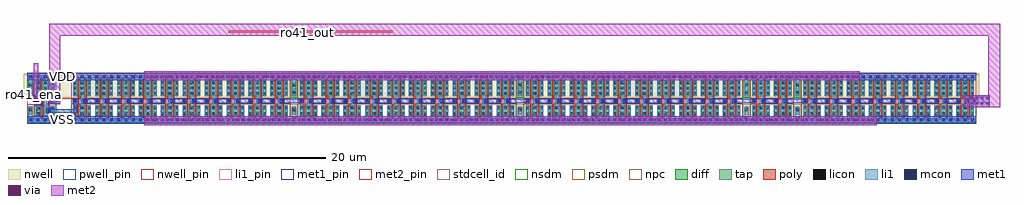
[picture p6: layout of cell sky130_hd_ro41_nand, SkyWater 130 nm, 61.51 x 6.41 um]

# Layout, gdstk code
import gdstk
lib = gdstk.Library(unit=1e-6, precision=1e-09)
def R(c, l, rs):  # rectangles x0, y0, x1, y1
    for r in rs: c.add(gdstk.rectangle(r[:2], r[2:], *l))
def A(c, l, x, y, w, h, nx, ny, dx, dy):  # array of equal rectangles
    R(c, l, [(x+i*dx, y+j*dy, x+i*dx+w, y+j*dy+h) for i in range(nx) for j in range(ny)])
def P(c, l, *ps):  # polygons
    for p in ps: c.add(gdstk.Polygon(p, *l))
nwell_pin = (64, 16)
nwell = (64, 20)
diff = (65, 20)
tap = (65, 44)
poly = (66, 20)
licon = (66, 44)
li1_pin = (67, 16)
li1 = (67, 20)
mcon = (67, 44)
met1_pin = (68, 16)
met1 = (68, 20)
via = (68, 44)
met2_pin = (69, 16)
met2 = (69, 20)
stdcell_id = (81, 4)
nsdm = (93, 44)
psdm = (94, 20)
npc = (95, 20)
pwell_pin = (122, 16)

sky130_hd_tapvpwrvgnd_1 = lib.new_cell('sky130_hd_tapvpwrvgnd_1')
R(sky130_hd_tapvpwrvgnd_1, nwell, [(-0.19,1.305,0.65,2.91)])
R(sky130_hd_tapvpwrvgnd_1, tap, [(0.145,0.32,0.315,0.845), (0.145,1.525,0.315,2.4)])
R(sky130_hd_tapvpwrvgnd_1, licon, [(0.145,0.555,0.315,0.725), (0.145,1.645,0.315,1.815), (0.145,2.11,0.315,2.28)])
R(sky130_hd_tapvpwrvgnd_1, li1, [(0,-0.085,0.46,0.085), (0.085,0,0.375,0.81), (0.085,1.49,0.375,2.72), (0,2.635,0.46,2.805)])
R(sky130_hd_tapvpwrvgnd_1, mcon, [(0.145,-0.085,0.315,0.085), (0.145,2.635,0.315,2.805)])
R(sky130_hd_tapvpwrvgnd_1, met1_pin, [(0.105,-0.09,0.36,0.1), (0.11,2.62,0.375,2.765)])
R(sky130_hd_tapvpwrvgnd_1, met1, [(0,-0.24,0.46,0.24), (0,2.48,0.46,2.96)])
R(sky130_hd_tapvpwrvgnd_1, stdcell_id, [(0,0,0.46,2.72)])
R(sky130_hd_tapvpwrvgnd_1, nsdm, [(0,-0.19,0.46,0.19), (0,1.395,0.46,2.53)])
R(sky130_hd_tapvpwrvgnd_1, psdm, [(0,0.19,0.46,0.975), (0,2.53,0.46,2.91)])
sky130_hd_tapvpwrvgnd_1.add(gdstk.Label('VPWR', (0.23,2.72), layer=68, texttype=5))
sky130_hd_tapvpwrvgnd_1.add(gdstk.Label('VGND', (0.23,0), layer=68, texttype=5))

sky130_hd_nand2_1 = lib.new_cell('sky130_hd_nand2_1')
R(sky130_hd_nand2_1, nwell_pin, [(0.14,2.635,0.31,2.805)])
R(sky130_hd_nand2_1, nwell, [(-0.19,1.305,1.57,2.91)])
R(sky130_hd_nand2_1, diff, [(0.155,0.235,1.245,0.885), (0.155,1.485,1.245,2.485)])
P(sky130_hd_nand2_1, poly, [(0.415,0.105),(0.415,0.995),(0.105,0.995),(0.105,1.325),(0.415,1.325),(0.415,2.615),(0.565,2.615),(0.565,0.105)],
  [(0.835,0.105),(0.835,2.615),(0.985,2.615),(0.985,1.325),(1.275,1.325),(1.275,0.995),(0.985,0.995),(0.985,0.105)])
A(sky130_hd_nand2_1, licon, 0.195, 1.575, 0.17, 0.17, 3, 3, 0.42, 0.34)
R(sky130_hd_nand2_1, licon, [(0.195,0.295,0.365,0.465), (1.035,0.295,1.205,0.465), (0.195,0.635,0.365,0.805), (1.035,0.635,1.205,0.805), (0.18,1.075,0.35,1.245), (1.02,1.075,1.19,1.245)])
A(sky130_hd_nand2_1, li1_pin, 0.14, 1.105, 0.17, 0.17, 3, 1, 0.46, 0)
R(sky130_hd_nand2_1, li1_pin, [(0.6,0.425,0.77,0.595), (0.6,0.765,0.77,0.935)])
R(sky130_hd_nand2_1, li1, [(0.095,1.055,0.43,1.325), (0.94,1.075,1.275,1.325)])
P(sky130_hd_nand2_1, li1, [(0.6,0.255),(0.6,1.485),(0.535,1.485),(0.535,2.465),(0.865,2.465),(0.865,1.485),(0.77,1.485),(0.77,0.885),(1.295,0.885),(1.295,0.255)],
  [(0.085,1.495),(0.085,2.635),(0,2.635),(0,2.805),(1.38,2.805),(1.38,2.635),(1.295,2.635),(1.295,1.495),(1.035,1.495),(1.035,2.635),(0.365,2.635),(0.365,1.495)],
  [(0,-0.085),(0,0.085),(0.085,0.085),(0.085,0.885),(0.395,0.885),(0.395,0.085),(1.38,0.085),(1.38,-0.085)])
A(sky130_hd_nand2_1, mcon, 0.145, -0.085, 0.17, 0.17, 3, 2, 0.46, 2.72)
R(sky130_hd_nand2_1, met1_pin, [(0.14,-0.085,0.31,0.085), (0.14,2.635,0.31,2.805)])
R(sky130_hd_nand2_1, stdcell_id, [(0,0,1.38,2.72)])
R(sky130_hd_nand2_1, nsdm, [(0,-0.19,1.38,1.015)])
R(sky130_hd_nand2_1, psdm, [(0,1.355,1.38,2.91)])
R(sky130_hd_nand2_1, npc, [(0,0.975,1.38,1.345)])
R(sky130_hd_nand2_1, pwell_pin, [(0.14,-0.085,0.31,0.085)])
sky130_hd_nand2_1.add(gdstk.FlexPath([(0,0),(1.38,0)], 0.48, ends="flush", simple_path=True, layer=68, datatype=20))  # met1
sky130_hd_nand2_1.add(gdstk.FlexPath([(0,2.72),(1.38,2.72)], 0.48, ends="flush", simple_path=True, layer=68, datatype=20))  # met1
sky130_hd_nand2_1.add(gdstk.Label('VPWR', (0.225,2.72), layer=68, texttype=5))
sky130_hd_nand2_1.add(gdstk.Label('VGND', (0.23,0), layer=68, texttype=5))
sky130_hd_nand2_1.add(gdstk.Label('A', (1.145,1.19), layer=67, texttype=5))
sky130_hd_nand2_1.add(gdstk.Label('B', (0.225,1.19), layer=67, texttype=5))
sky130_hd_nand2_1.add(gdstk.Label('Y', (0.685,0.51), layer=67, texttype=5))
sky130_hd_nand2_1.add(gdstk.Label('Y', (0.685,0.85), layer=67, texttype=5))
sky130_hd_nand2_1.add(gdstk.Label('Y', (0.685,1.19), layer=67, texttype=5))
sky130_hd_nand2_1.add(gdstk.Label('VNB', (0.225,0), layer=64, texttype=59))
sky130_hd_nand2_1.add(gdstk.Label('VPB', (0.225,2.72), layer=64, texttype=5))

sky130_hd_inv_1 = lib.new_cell('sky130_hd_inv_1')
R(sky130_hd_inv_1, nwell_pin, [(0.145,2.635,0.315,2.805)])
R(sky130_hd_inv_1, nwell, [(-0.19,1.305,1.57,2.91)])
R(sky130_hd_inv_1, diff, [(0.145,0.235,1.235,0.885), (0.145,1.485,1.235,2.485)])
P(sky130_hd_inv_1, poly, [(0.405,0.105),(0.405,0.995),(0.105,0.995),(0.105,1.325),(0.405,1.325),(0.405,2.615),(0.555,2.615),(0.555,1.325),(0.825,1.325),(0.825,2.615),(0.975,2.615),(0.975,0.105),(0.825,0.105),(0.825,0.995),(0.555,0.995),(0.555,0.105)])
A(sky130_hd_inv_1, licon, 0.185, 0.295, 0.17, 0.17, 3, 2, 0.42, 0.36)
A(sky130_hd_inv_1, licon, 0.185, 1.575, 0.17, 0.17, 3, 3, 0.42, 0.34)
R(sky130_hd_inv_1, licon, [(0.185,1.075,0.355,1.245)])
R(sky130_hd_inv_1, li1_pin, [(0.605,0.765,0.775,0.935), (0.145,1.105,0.315,1.275), (0.615,1.105,0.785,1.275), (0.605,1.445,0.775,1.615)])
R(sky130_hd_inv_1, li1, [(0.105,1.075,0.435,1.325), (0.855,1.075,1.035,1.325)])
P(sky130_hd_inv_1, li1, [(0,-0.085),(0,0.085),(0.125,0.085),(0.125,0.905),(0.355,0.905),(0.355,0.085),(1.025,0.085),(1.025,0.905),(1.235,0.905),(1.235,0.085),(1.38,0.085),(1.38,-0.085)],
  [(0.125,1.495),(0.125,2.635),(0,2.635),(0,2.805),(1.38,2.805),(1.38,2.635),(1.235,2.635),(1.235,1.495),(1.025,1.495),(1.025,2.635),(0.355,2.635),(0.355,1.495)],
  [(0.525,0.255),(0.525,0.885),(0.605,0.885),(0.605,1.485),(0.525,1.485),(0.525,2.465),(0.855,2.465),(0.855,0.255)])
A(sky130_hd_inv_1, mcon, 0.145, -0.085, 0.17, 0.17, 3, 2, 0.46, 2.72)
R(sky130_hd_inv_1, mcon, [(0.16,1.105,0.33,1.275), (0.8,1.105,0.97,1.275)])
R(sky130_hd_inv_1, met1_pin, [(0.145,-0.085,0.315,0.085), (0.145,2.635,0.315,2.805)])
R(sky130_hd_inv_1, met1, [(0.725,1.055,1.79,1.335)])
R(sky130_hd_inv_1, stdcell_id, [(0,0,1.38,2.72)])
R(sky130_hd_inv_1, nsdm, [(0,-0.19,1.38,1.015)])
R(sky130_hd_inv_1, psdm, [(0,1.355,1.38,2.91)])
R(sky130_hd_inv_1, npc, [(0,0.975,1.38,1.345)])
R(sky130_hd_inv_1, pwell_pin, [(0.145,-0.085,0.315,0.085)])
sky130_hd_inv_1.add(gdstk.FlexPath([(0,0),(1.38,0)], 0.48, ends="flush", simple_path=True, layer=68, datatype=20))  # met1
sky130_hd_inv_1.add(gdstk.FlexPath([(0,2.72),(1.38,2.72)], 0.48, ends="flush", simple_path=True, layer=68, datatype=20))  # met1
sky130_hd_inv_1.add(gdstk.Label('VGND', (0.23,0), layer=68, texttype=5))
sky130_hd_inv_1.add(gdstk.Label('VPWR', (0.23,2.72), layer=68, texttype=5))
sky130_hd_inv_1.add(gdstk.Label('A', (0.23,1.19), layer=67, texttype=5))
sky130_hd_inv_1.add(gdstk.Label('Y', (0.69,0.85), layer=67, texttype=5))
sky130_hd_inv_1.add(gdstk.Label('Y', (0.7,1.195), layer=67, texttype=5))
sky130_hd_inv_1.add(gdstk.Label('Y', (0.69,1.53), layer=67, texttype=5))
sky130_hd_inv_1.add(gdstk.Label('VNB', (0.23,0), layer=64, texttype=59))
sky130_hd_inv_1.add(gdstk.Label('VPB', (0.23,2.72), layer=64, texttype=5))

sky130_hd_ro41_nand = lib.new_cell('sky130_hd_ro41_nand')
R(sky130_hd_ro41_nand, nwell, [(-1.435,1.255,-0.225,2.86)])
R(sky130_hd_ro41_nand, li1, [(56.245,1.025,56.59,1.275)])
R(sky130_hd_ro41_nand, mcon, [(-1.915,0.435,-1.745,0.605), (-2.62,1.055,-2.45,1.225), (56.37,1.06,56.54,1.23), (-1.77,1.095,-1.6,1.265)])
R(sky130_hd_ro41_nand, met1_pin, [(-1.255,-0.185,-0.675,0.1), (-1.21,2.56,-0.68,2.8)])
R(sky130_hd_ro41_nand, met1, [(-1.46,-0.29,-0.42,0.19), (-2.035,0.36,-1.525,0.68), (56.185,0.745,57.45,1.485), (-2.78,0.865,-2.265,1.35), (-1.915,0.965,-1.415,1.36), (-1.915,0.965,-1.415,1.36), (-1.545,0.965,-1.14,1.645), (-0.35,0.98,0.01,1.29), (56.155,0.985,57.3,1.29), (13.76,1.025,14.235,1.275), (28.02,1.025,28.5,1.275), (42.28,1.025,42.76,1.275), (45.5,1.025,45.97,1.275), (-1.915,1.345,-1.415,1.645), (-2.78,1.35,-2.265,1.5), (-1.465,2.43,-0.37,2.91)])
A(sky130_hd_ro41_nand, via, 4.24, -0.125, 0.15, 0.15, 72, 1, 0.32, 0)
A(sky130_hd_ro41_nand, via, 27.62, -0.125, 0.15, 0.15, 71, 1, 0.32, 0)
A(sky130_hd_ro41_nand, via, 56.245, 0.92, 0.15, 0.15, 3, 2, 0.32, 0.32)
A(sky130_hd_ro41_nand, via, 4.525, 2.595, 0.15, 0.15, 71, 1, 0.32, 0)
A(sky130_hd_ro41_nand, via, 27.585, 2.595, 0.15, 0.15, 68, 1, 0.32, 0)
R(sky130_hd_ro41_nand, via, [(57.215,0.92,57.365,1.07), (-2.725,0.96,-2.575,1.11), (-1.755,1.08,-1.605,1.23), (-1.755,1.08,-1.605,1.23), (-1.755,1.08,-1.605,1.23), (-1.435,1.08,-1.285,1.23), (57.215,1.24,57.365,1.39), (-2.725,1.28,-2.575,1.43), (-1.755,1.4,-1.605,1.55), (-1.435,1.4,-1.285,1.55)])
R(sky130_hd_ro41_nand, met2_pin, [(-2.87,0.915,-2.745,2.355)])
P(sky130_hd_ro41_nand, met2_pin, [(9.49,5.43),(9.49,5.565),(14.49,5.565),(19.825,5.565),(19.825,5.43)])
R(sky130_hd_ro41_nand, met2, [(4.15,-0.4,50.32,0.19), (56.155,0.775,57.13,1.455), (-1.84,0.92,-1.145,5.915), (4.15,2.43,49.245,3.02)])
R(sky130_hd_ro41_nand, psdm, [(-1.63,1.305,-0.325,2.86)])
sky130_hd_ro41_nand.add(gdstk.FlexPath([(-1.87,0.505),(-0.18,0.505),(-0.18,1.2)], 0.2, ends="flush", simple_path=True, layer=68, datatype=20))  # met1
sky130_hd_ro41_nand.add(gdstk.FlexPath([(-2.67,3.52),(-2.67,0.85)], 0.3, ends="flush", simple_path=True, layer=69, datatype=20))  # met2
sky130_hd_ro41_nand.add(gdstk.FlexPath([(-1.84,5.64),(3.275,5.64),(57.71,5.64),(57.71,1.12),(55.875,1.12)], 0.75, ends="flush", simple_path=True, layer=69, datatype=20))  # met2
sky130_hd_ro41_nand.add(gdstk.Reference(sky130_hd_tapvpwrvgnd_1, (-3.24,-0.05)))
sky130_hd_ro41_nand.add(gdstk.Reference(sky130_hd_tapvpwrvgnd_1, (13.35,-0.05)))
sky130_hd_ro41_nand.add(gdstk.Reference(sky130_hd_tapvpwrvgnd_1, (27.61,-0.05)))
sky130_hd_ro41_nand.add(gdstk.Reference(sky130_hd_tapvpwrvgnd_1, (41.87,-0.05)))
sky130_hd_ro41_nand.add(gdstk.Reference(sky130_hd_tapvpwrvgnd_1, (45.09,-0.05)))
sky130_hd_ro41_nand.add(gdstk.Reference(sky130_hd_nand2_1, (-2.78,-0.05)))
sky130_hd_ro41_nand.add(gdstk.Reference(sky130_hd_inv_1, (-0.45,-0.05)))
sky130_hd_ro41_nand.add(gdstk.Reference(sky130_hd_inv_1, (0.93,-0.05)))
sky130_hd_ro41_nand.add(gdstk.Reference(sky130_hd_inv_1, (2.31,-0.05)))
sky130_hd_ro41_nand.add(gdstk.Reference(sky130_hd_inv_1, (3.69,-0.05)))
sky130_hd_ro41_nand.add(gdstk.Reference(sky130_hd_inv_1, (5.07,-0.05)))
sky130_hd_ro41_nand.add(gdstk.Reference(sky130_hd_inv_1, (6.45,-0.05)))
sky130_hd_ro41_nand.add(gdstk.Reference(sky130_hd_inv_1, (7.83,-0.05)))
sky130_hd_ro41_nand.add(gdstk.Reference(sky130_hd_inv_1, (9.21,-0.05)))
sky130_hd_ro41_nand.add(gdstk.Reference(sky130_hd_inv_1, (10.59,-0.05)))
sky130_hd_ro41_nand.add(gdstk.Reference(sky130_hd_inv_1, (11.97,-0.05)))
sky130_hd_ro41_nand.add(gdstk.Reference(sky130_hd_inv_1, (13.81,-0.05)))
sky130_hd_ro41_nand.add(gdstk.Reference(sky130_hd_inv_1, (15.19,-0.05)))
sky130_hd_ro41_nand.add(gdstk.Reference(sky130_hd_inv_1, (16.57,-0.05)))
sky130_hd_ro41_nand.add(gdstk.Reference(sky130_hd_inv_1, (17.95,-0.05)))
sky130_hd_ro41_nand.add(gdstk.Reference(sky130_hd_inv_1, (19.33,-0.05)))
sky130_hd_ro41_nand.add(gdstk.Reference(sky130_hd_inv_1, (20.71,-0.05)))
sky130_hd_ro41_nand.add(gdstk.Reference(sky130_hd_inv_1, (22.09,-0.05)))
sky130_hd_ro41_nand.add(gdstk.Reference(sky130_hd_inv_1, (23.47,-0.05)))
sky130_hd_ro41_nand.add(gdstk.Reference(sky130_hd_inv_1, (24.85,-0.05)))
sky130_hd_ro41_nand.add(gdstk.Reference(sky130_hd_inv_1, (26.23,-0.05)))
sky130_hd_ro41_nand.add(gdstk.Reference(sky130_hd_inv_1, (28.07,-0.05)))
sky130_hd_ro41_nand.add(gdstk.Reference(sky130_hd_inv_1, (29.45,-0.05)))
sky130_hd_ro41_nand.add(gdstk.Reference(sky130_hd_inv_1, (30.83,-0.05)))
sky130_hd_ro41_nand.add(gdstk.Reference(sky130_hd_inv_1, (32.21,-0.05)))
sky130_hd_ro41_nand.add(gdstk.Reference(sky130_hd_inv_1, (33.59,-0.05)))
sky130_hd_ro41_nand.add(gdstk.Reference(sky130_hd_inv_1, (34.97,-0.05)))
sky130_hd_ro41_nand.add(gdstk.Reference(sky130_hd_inv_1, (36.35,-0.05)))
sky130_hd_ro41_nand.add(gdstk.Reference(sky130_hd_inv_1, (37.73,-0.05)))
sky130_hd_ro41_nand.add(gdstk.Reference(sky130_hd_inv_1, (39.11,-0.05)))
sky130_hd_ro41_nand.add(gdstk.Reference(sky130_hd_inv_1, (40.49,-0.05)))
sky130_hd_ro41_nand.add(gdstk.Reference(sky130_hd_inv_1, (42.33,-0.05)))
sky130_hd_ro41_nand.add(gdstk.Reference(sky130_hd_inv_1, (43.71,-0.05)))
sky130_hd_ro41_nand.add(gdstk.Reference(sky130_hd_inv_1, (45.55,-0.05)))
sky130_hd_ro41_nand.add(gdstk.Reference(sky130_hd_inv_1, (46.93,-0.05)))
sky130_hd_ro41_nand.add(gdstk.Reference(sky130_hd_inv_1, (48.31,-0.05)))
sky130_hd_ro41_nand.add(gdstk.Reference(sky130_hd_inv_1, (49.69,-0.05)))
sky130_hd_ro41_nand.add(gdstk.Reference(sky130_hd_inv_1, (51.07,-0.05)))
sky130_hd_ro41_nand.add(gdstk.Reference(sky130_hd_inv_1, (52.45,-0.05)))
sky130_hd_ro41_nand.add(gdstk.Reference(sky130_hd_inv_1, (53.83,-0.05)))
sky130_hd_ro41_nand.add(gdstk.Reference(sky130_hd_inv_1, (55.21,-0.05)))
sky130_hd_ro41_nand.add(gdstk.Label('VSS', (-1.025,-0.055), layer=68, texttype=5))
sky130_hd_ro41_nand.add(gdstk.Label('VDD', (-0.995,2.65), layer=68, texttype=5))
sky130_hd_ro41_nand.add(gdstk.Label('ro41_ena', (-2.855,1.55), layer=69, texttype=5))
sky130_hd_ro41_nand.add(gdstk.Label('ro41_out', (14.43,5.475), layer=69, texttype=5))

lib.write_gds('sky130_hd_ro41_nand.gds')
